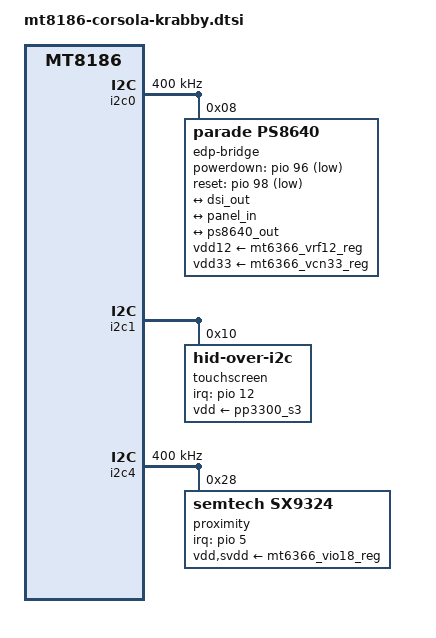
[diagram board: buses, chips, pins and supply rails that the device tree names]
// SPDX-License-Identifier: (GPL-2.0 OR MIT)
/*
 * Copyright 2022 Google LLC
 */

/dts-v1/;
#include "mt8186-corsola.dtsi"
#include <dt-bindings/gpio/gpio.h>

/ {
	aliases {
		i2c4 = &i2c4;
	};
};

&dsi_out {
	remote-endpoint = <&ps8640_in>;
};

&i2c0 {
	clock-frequency = <400000>;

	edp-bridge@8 {
		compatible = "parade,ps8640";
		reg = <0x8>;
		pinctrl-names = "default";
		pinctrl-0 = <&ps8640_pins>;
		powerdown-gpios = <&pio 96 GPIO_ACTIVE_LOW>;
		reset-gpios = <&pio 98 GPIO_ACTIVE_LOW>;
		vdd12-supply = <&mt6366_vrf12_reg>;
		vdd33-supply = <&mt6366_vcn33_reg>;

		ports {
			#address-cells = <1>;
			#size-cells = <0>;

			port@0 {
				reg = <0>;

				ps8640_in: endpoint {
					remote-endpoint = <&dsi_out>;
				};
			};

			port@1 {
				reg = <1>;

				ps8640_out: endpoint {
					remote-endpoint = <&panel_in>;
				};
			};
		};

		aux-bus {
			panel {
				compatible = "edp-panel";
				power-supply = <&pp3300_disp_x>;
				backlight = <&backlight_lcd0>;

				port {
					panel_in: endpoint {
						remote-endpoint = <&ps8640_out>;
					};
				};
			};
		};
	};
};

&i2c1 {
	i2c-scl-internal-delay-ns = <10000>;

	touchscreen: touchscreen@10 {
		compatible = "hid-over-i2c";
		reg = <0x10>;
		interrupts-extended = <&pio 12 IRQ_TYPE_LEVEL_LOW>;
		pinctrl-names = "default";
		pinctrl-0 = <&touchscreen_pins>;
		post-power-on-delay-ms = <10>;
		hid-descr-addr = <0x0001>;
		vdd-supply = <&pp3300_s3>;
	};
};

&i2c4 {
	pinctrl-names = "default";
	pinctrl-0 = <&i2c4_pins>;
	clock-frequency = <400000>;
	status = "okay";

	proximity@28 {
		compatible = "semtech,sx9324";
		reg = <0x28>;
		#io-channel-cells = <1>;
		interrupts-extended = <&pio 5 IRQ_TYPE_LEVEL_LOW>;
		pinctrl-names = "default";
		pinctrl-0 = <&sar_sensor_pins>;
		vdd-supply = <&mt6366_vio18_reg>;
		svdd-supply = <&mt6366_vio18_reg>;
	};
};

&pio {
	i2c4_pins: i2c4-pins {
		pins-bus {
			pinmux = <PINMUX_GPIO136__FUNC_SDA4>,
				 <PINMUX_GPIO135__FUNC_SCL4>;
			bias-disable;
			drive-strength = <4>;
			input-enable;
		};
	};

	ps8640_pins: ps8640-pins {
		pins-pwrdn-rst {
			pinmux = <PINMUX_GPIO96__FUNC_GPIO96>,
				 <PINMUX_GPIO98__FUNC_GPIO98>;
			output-low;
		};
	};

	sar_sensor_pins: sar-sensor-pins {
		pins-irq {
			pinmux = <PINMUX_GPIO5__FUNC_GPIO5>;
			input-enable;
			bias-pull-up;
		};
	};
};
